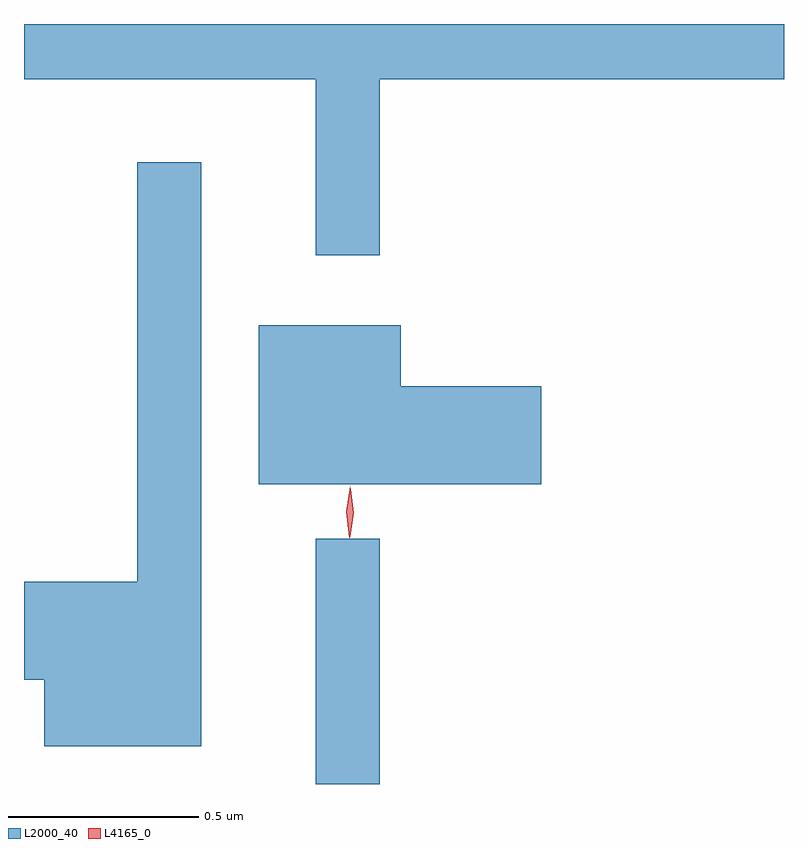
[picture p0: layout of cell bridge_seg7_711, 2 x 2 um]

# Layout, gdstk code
import gdstk
lib = gdstk.Library(unit=1e-6, precision=1e-09)
def R(c, l, rs):  # rectangles x0, y0, x1, y1
    for r in rs: c.add(gdstk.rectangle(r[:2], r[2:], *l))
def P(c, l, *ps):  # polygons
    for p in ps: c.add(gdstk.Polygon(p, *l))
L2000_40 = (2000, 40)
L4165_0 = (4165, 0)

bridge_seg7_711 = lib.new_cell('bridge_seg7_711')
R(bridge_seg7_711, L2000_40, [(1017.431,1714.682,1017.599,1715.328)])
P(bridge_seg7_711, L2000_40, [(1017.599,1716.536),(1018.663,1716.536),(1018.663,1716.682),(1016.663,1716.682),(1016.663,1716.536),(1017.431,1716.536),(1017.431,1716.073),(1017.599,1716.073)],
  [(1017.129,1716.318),(1016.961,1716.318),(1016.961,1715.214),(1016.663,1715.214),(1016.663,1714.956),(1016.716,1714.956),(1016.716,1714.781),(1017.129,1714.781)],
  [(1018.024,1715.729),(1017.654,1715.729),(1017.654,1715.889),(1017.281,1715.889),(1017.281,1715.471),(1018.024,1715.471)])
P(bridge_seg7_711, L4165_0, [(1017.519,1715.33),(1017.511,1715.398),(1017.521,1715.465),(1017.522,1715.466),(1017.522,1715.465),(1017.53,1715.398),(1017.52,1715.33),(1017.52,1715.33)],
  [(1017.52,1715.333),(1017.512,1715.396),(1017.522,1715.459),(1017.522,1715.46),(1017.523,1715.459),(1017.531,1715.396),(1017.521,1715.333),(1017.521,1715.333)])

lib.write_gds('bridge_seg7_711.gds')
